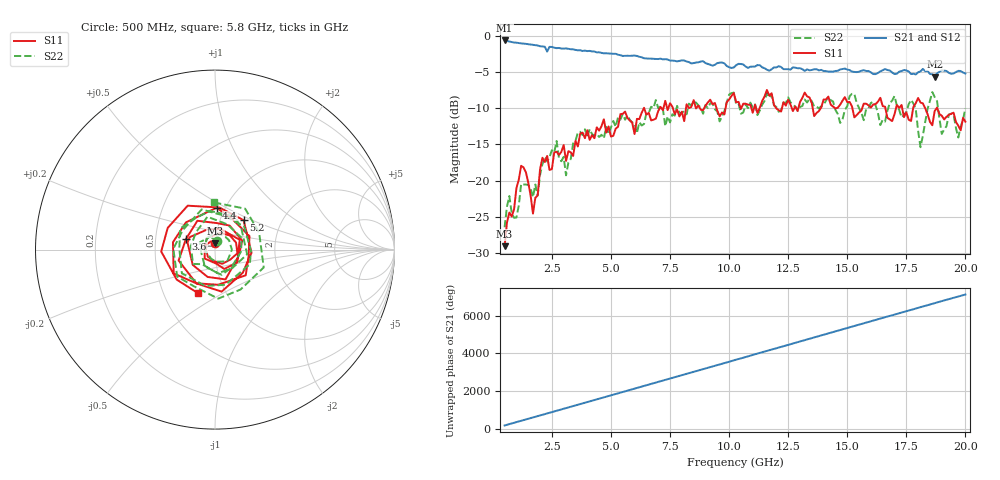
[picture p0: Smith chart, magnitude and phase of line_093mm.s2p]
!Created with skrf (http://scikit-rf.org).
# GHz S RI R 50.0
!freq ReS11 ImS11 ReS21 ImS21 ReS12 ImS12 ReS22 ImS22
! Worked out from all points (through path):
!   196 points, 500 MHz to 20 GHz, reference 50 ohm
!   highest |S21| = -0.61 dB at 500 MHz (marker M1); lowest = -5.6 dB at 18.7 GHz (marker M2)
!   lowest |S11| = -29.1 dB at 500 MHz (marker M3), VSWR 1.07, Z = 50.1 + j3.52 ohm
!   |S11| at or under -10 dB: start of sweep to 6.389 GHz; 6.408 GHz to 7.066 GHz (657.7 MHz wide, 9.76 % of centre); 18.81 GHz to end of sweep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
!   |S22| runs from -26.5 to -7.7 dB; largest |S21 - S12| = 0.47
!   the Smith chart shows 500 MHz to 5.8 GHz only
!   S11 on the Smith chart (normalised r, x): 500 MHz: 1.00, +0.07; 3.6 GHz: 0.72, +0.09; 4.4 GHz: 0.91, +0.45; 5.2 GHz: 1.29, +0.45; 5.8 GHz: 0.74, -0.38
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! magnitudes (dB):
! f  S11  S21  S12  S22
! 500 MHz  -29.1  -0.6  -0.6  -26.5
! 1.2 GHz  -17.9  -1.0  -1.0  -20.5
! 1.7 GHz  -24.6  -1.2  -1.2  -22.3
! 2.1 GHz  -16.8  -1.4  -1.4  -17.7
! 2.7 GHz  -16.0  -1.7  -1.7  -14.5
! 3.1 GHz  -17.3  -1.7  -1.7  -19.3
! 3.6 GHz  -15.3  -2.0  -2.0  -13.3
! 3.8 GHz  -13.4  -2.1  -2.1  -13.7
! 4.4 GHz  -12.6  -2.3  -2.3  -13.5
! 5.2 GHz  -12.8  -2.5  -2.5  -12.6
! 5.8 GHz  -11.7  -2.7  -2.8  -11.6
! 7 GHz  -10.4  -3.2  -3.2  -10.0
! 10.3 GHz  -9.2  -4.0  -4.1  -9.4
! 13.5 GHz  -9.3  -4.7  -4.7  -9.0
! 15.3 GHz  -11.2  -5.0  -5.1  -8.0
! 16.4 GHz  -8.6  -4.9  -4.9  -12.3
! 16.8 GHz  -11.5  -4.8  -4.8  -9.3
! 17.7 GHz  -11.8  -5.3  -5.2  -8.8
! 18.1 GHz  -9.2  -4.9  -4.8  -15.4
! 18.7 GHz  -10.4  -5.6  -5.6  -8.4
! 19 GHz  -11.0  -4.7  -4.7  -13.5
! 20 GHz  -11.8  -5.2  -5.2  -10.0
